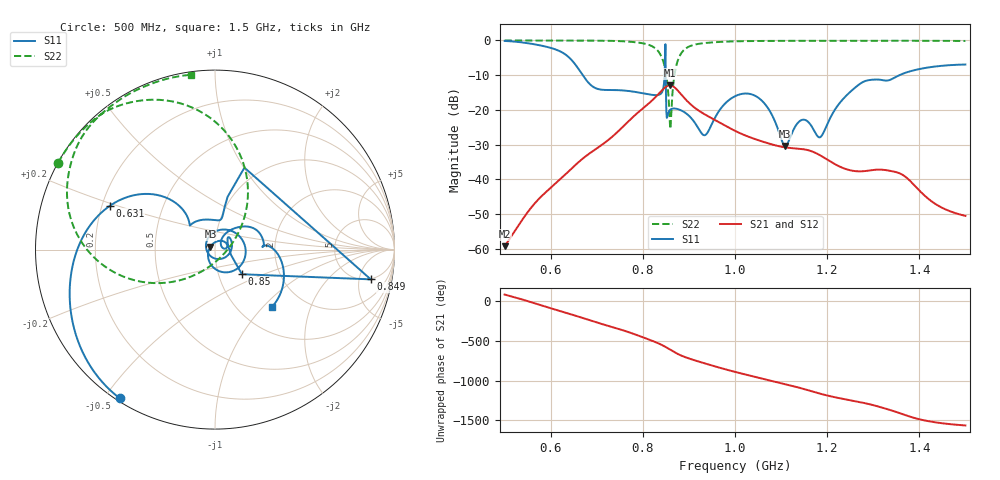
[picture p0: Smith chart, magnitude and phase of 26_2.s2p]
! TOUCHSTONE file generated by CST MICROWAVE STUDIO
! Date and time: Fri Oct  2 16:23:10 2020
! Project name: Scenario_1_Free_Space_out_of_line.cst
! Parameters = {Lambda=346.42; Step_1=17.321; dy1=-85.885; dx1=346; L_HA=400; MT=2.54; Rad_Dielectric=30; Rad_Lower=7.3; Rad_Upper=30; a_HA=580; a_WG=246; b_HA=500; b_WG=121; c_HA=0; c_WG=187; d_feed=85; h_feed=15; h_lower=18; h_upper=40}
! Header version: 2018
! Port assignment regex: !\s*Touchstone port\s*([0-9]+)\s*=\s*(CST MWS port|CST DS port)\s*([0-9]+|Zmin|Zmax)\s*\(\"(.*)\"\)(\s*mode\s*([0-9]+))?.*
! Touchstone port assignment:
! Touchstone port 1 = CST MWS port 1 ("")
! Touchstone port 2 = CST MWS port 2 ("")
# GHz S DB R 50
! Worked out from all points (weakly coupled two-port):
!   1003 points, 500 MHz to 1.5 GHz, reference 50 ohm
!   highest |S21| = -12.93 dB at 859 MHz (marker M1); lowest = -59.2 dB at 500 MHz (marker M2)
!   lowest |S11| = -30.4 dB at 1.109 GHz (marker M3), VSWR 1.06, Z = 47.5 + j1.55 ohm
!   |S11| at or under -10 dB: 669.5 MHz to 847.1 MHz (177.6 MHz wide, 23.4 % of centre); 849.7 MHz to 1.357 GHz (507.1 MHz wide, 46 % of centre)
!   |S22| runs from -25.4 to 0.0 dB; largest |S21 - S12| = 2.5e-05
!   S11 on the Smith chart (normalised r, x): 500 MHz: 0.01, -0.55; 631 MHz: 0.23, +0.19; 849 MHz: 4.88, -7.38; 850 MHz: 1.29, -0.37; 1.5 GHz: 1.41, -1.13
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0.5  -0.14 -122.7  -59.21 79.9  -59.21 79.9  -0.01 151.1
0.575  -1.36 -161.3  -45.51 -47.8  -45.51 -47.8  -0.01 145.9
0.631  -3.95 157.4  -38.67 -145.1  -38.67 -145.1  -0.03 141.5
0.667  -9.51 129.9  -34.29 149.4  -34.29 149.4  -0.04 138.3
0.7  -13.87 134.6  -31.07 88.8  -31.07 88.8  -0.07 134.7
0.778  -14.71 117.4  -22.11 -50.1  -22.11 -50.1  -0.44 120.8
0.834  -15.68 82.2  -15.40 -173.7  -15.40 -173.7  -3.21 87.9
0.849  -1.08 -10.8  -13.46 142.8  -13.46 142.8  -8.54 60.6
0.85  -13.84 -42.5  -13.36 139.5  -13.36 139.5  -9.26 57.9
0.859  -20.00 43.2  -12.93 108.4  -12.93 108.4  -24.65 -16.4
0.873  -19.66 30.8  -14.03 61.6  -14.03 61.6  -7.05 -156.1
0.889  -20.56 5.9  -16.42 20.0  -16.42 20.0  -2.77 178.6
0.935  -27.25 -148.0  -21.33 -65.8  -21.33 -65.8  -0.74 152.6
1  -16.06 25.7  -26.01 -171.5  -26.01 -171.5  -0.26 140.3
1.058  -17.30 -68.0  -29.03 104.9  -29.03 104.9  -0.15 133.5
1.109  -30.38 147.5  -30.77 34.1  -30.77 34.1  -0.12 128.8
1.141  -23.16 36.9  -31.18 -13.0  -31.18 -13.0  -0.11 126.2
1.167  -24.87 5.3  -31.93 -56.2  -31.93 -56.2  -0.10 124.1
1.185  -27.84 30.9  -33.08 -85.8  -33.08 -85.8  -0.10 122.7
1.262  -13.43 37.3  -37.62 178.7  -37.62 178.7  -0.08 116.8
1.334  -11.46 4.1  -37.46 74.2  -37.46 74.2  -0.09 111.4
1.5  -6.93 -44.8  -50.50 -124.5  -50.44 -124.2  -0.15 97.9
